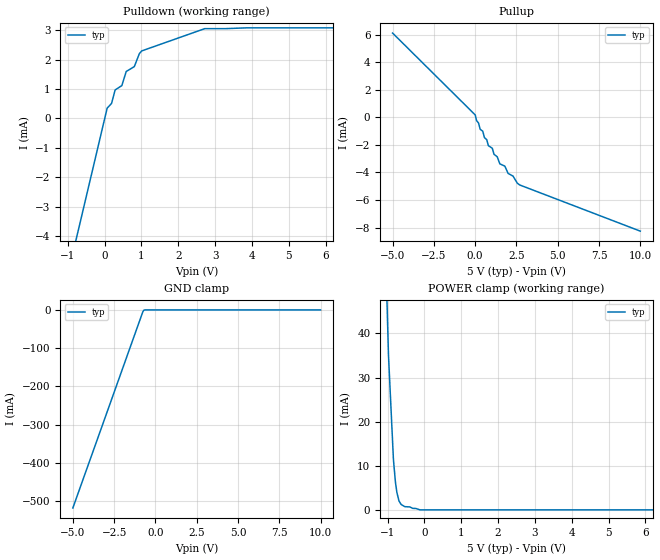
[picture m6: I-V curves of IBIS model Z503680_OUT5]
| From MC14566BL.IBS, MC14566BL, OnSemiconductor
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| (C) COPYRIGHT 1993-2000
| MENTOR GRAPHICS CORPORATION
| ICX STANDARD LIBRARY, ICX PROJECT MODELING,
| ICX CUSTOM MODELING, ICX VENDOR MODEL
| ALL RIGHTS RESERVED.
| THE FOLLOWING ARE TRADEMARKS OR SERVICE MARKS OF
| MENTOR GRAPHICS CORPORATION:ICX (R), ICX STANDARD
| LIBRARY(R), ICX PROJECT MODELING(R), ICX CUSTOM
| MODELING(R), qualityIBIS(TM), MODELVIEWER(TM),
| AND MODELEDITOR(TM)
| ALL COPIES OF SOFTWARE, INCLUDING BUT NOT LIMITED TO
| ANY MODIFICATIONS, ENHANCEMENTS OR DERIVATIVE WORKS,
| MUST CONTAIN ALL MENTOR GRAPHICS CORPORATION'S
| NOTICES AND LEGENDS, INCLUDING THOSE EMBEDDED IN
| SOFTWARE AND THOSE AFFIXED TO SOFTWARE MEDIUM
| AND CONTAINER, AS RECEIVED FROM MENTOR GRAPHICS
| CORPORATION.
| Model Application Version 1.89 2/18/99.
[Model] Z503680_OUT5
Model_type Output
Vref=0.000V
Rref=500.0Mohms
Cref=50.00pF
Vmeas=2.500V
C_comp 8.000pF NA NA
| variable typ   min   max
[Voltage Range] 5.000V NA NA
[POWER Clamp Reference] 5.000V NA NA
[Pullup Reference] 5.000V NA NA
[Pulldown Reference] 0.000V NA NA
[GND Clamp Reference] 0.000V NA NA
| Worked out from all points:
|   slope of the pulldown table from 0 to 0.75 V, typ, clamps not added: 433 ohm
|   slope of the pullup table from 0 to 0.75 V, typ, clamps not added: 373 ohm
|   GND clamp passes 1 mA (typ) near -0.71 V on its own axis
|   POWER clamp passes 1 mA (typ) near -0.59 V on its own axis
[GND Clamp]
-5V       -518.4mA   NA         NA
-761.7mV  -4.944mA   NA         NA
-703mV    -720.8uA   NA         NA
-632.7mV  0A         NA         NA
10V       0A         NA         NA
[Pulldown]
-5V       -26.52mA   NA         NA
68.24mV   351.8uA    NA         NA
188.2mV   513.1uA    NA         NA
284.8mV   971.8uA    NA         NA
466.8mV   1.119mA    NA         NA
586.2mV   1.599mA    NA         NA
805.4mV   1.765mA    NA         NA
941.6mV   2.203mA    NA         NA
1.006V    2.299mA    NA         NA
2.719V    3.057mA    NA         NA
3.853V    3.084mA    NA         NA
10V       3.084mA    NA         NA
[Pullup]
-5V       6.12mA     NA         NA
5mV       173.4uA    NA         NA
305mV     -867.8uA   NA         NA
461mV     -1.008mA   NA         NA
801mV     -2.054mA   NA         NA
1.04V     -2.249mA   NA         NA
1.494V    -3.377mA   NA         NA
1.797V    -3.541mA   NA         NA
1.997V    -4.073mA   NA         NA
2.295V    -4.266mA   NA         NA
2.55V     -4.777mA   NA         NA
10V       -8.263mA   NA         NA
[POWER Clamp]
-5V       1.251A     NA         NA
-975mV    35.19mA    NA         NA
-840mV    11.42mA    NA         NA
-786mV    6.308mA    NA         NA
-746mV    3.947mA    NA         NA
-689mV    2.026mA    NA         NA
-631mV    1.223mA    NA         NA
-531mV    726.7uA    NA         NA
-395mV    664.3uA    NA         NA
-117mV    0A         NA         NA
10V       0A         NA         NA
[Ramp]
| variable typ min max
dV/dt_r 2.565/14.88n NA NA
dV/dt_f 2.565/32.82n NA NA
R_load = 2.500kOhms
